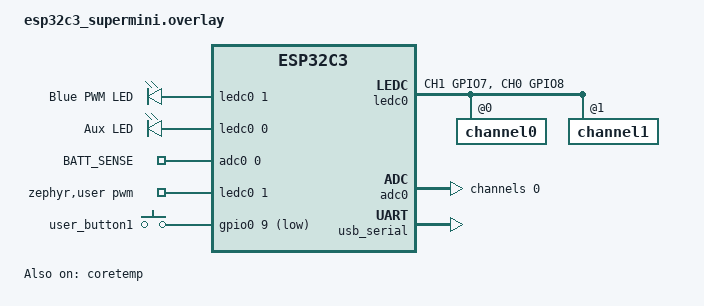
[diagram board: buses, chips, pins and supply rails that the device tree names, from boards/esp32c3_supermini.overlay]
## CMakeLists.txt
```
cmake_minimum_required(VERSION 3.20.0)

find_package(Zephyr REQUIRED HINTS $ENV{ZEPHYR_BASE})
project(ZBeam)

# Core application sources
target_sources(app PRIVATE 
    src/main.c
    src/key_map.c
    lib/fsm_engine.c
    lib/fsm_worker.c
    lib/multi_tap_input.c
    lib/storage_manager.c
    lib/safety_monitor.c
)

# Platform-specific PWM ramp implementation
if(CONFIG_PWM_RAMP_ESP32_LEDC_INTERPOLATION)
    target_sources(app PRIVATE src/pwm_ramp_esp32.c)
elseif(CONFIG_PWM_RAMP_DMA)
    target_sources(app PRIVATE src/pwm_ramp_dma.c)
else()
    target_sources(app PRIVATE src/pwm_ramp_generic.c)
endif()

target_include_directories(app PRIVATE include)
```

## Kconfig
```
# ZBeam Application Configuration

# ============================================================================
# MCU/Platform-Specific Configuration
# ============================================================================
menu "MCU-Specific Settings"

menu "PWM Ramp Table"

config PWM_RAMP_TABLE
	bool "Enable PWM ramp table for LED brightness"
	default y
	help
	  Enable perception-corrected PWM ramp table for LED brightness control.
	  Uses gamma correction for perceptually-linear brightness changes.

if PWM_RAMP_TABLE

config PWM_RAMP_RESOLUTION_13BIT
	bool
	default y if SOC_SERIES_ESP32C3 || SOC_SERIES_ESP32 || SOC_SERIES_ESP32S2 || SOC_SERIES_ESP32S3 || SOC_SERIES_NRF52X

config PWM_RAMP_RESOLUTION_10BIT
	bool
	default y if SOC_SERIES_STM32F4X || SOC_SERIES_STM32L4X

config PWM_RAMP_RESOLUTION_8BIT
	bool
	default y if !PWM_RAMP_RESOLUTION_13BIT && !PWM_RAMP_RESOLUTION_10BIT

config PWM_RAMP_ESP32_LEDC_INTERPOLATION
	bool
	default y if SOC_SERIES_ESP32C3 || SOC_SERIES_ESP32 || SOC_SERIES_ESP32S2 || SOC_SERIES_ESP32S3

config PWM_RAMP_INTERPOLATION_STEP
	int "Ramp table interpolation step size"
	default 8
	range 1 64
	depends on PWM_RAMP_ESP32_LEDC_INTERPOLATION
	help
	  Instead of updating brightness at every table index, skip N entries
	  and use LEDC hardware fade to interpolate between values.
	  Higher values = less CPU overhead, but coarser gamma correction.
	  Recommended: 4-16 for smooth fades with minimal CPU usage.

config PWM_RAMP_DMA
	bool "Use DMA for PWM ramping"
	default n
	help
	  Use DMA to transfer duty values from the ramp table directly
	  to the timer's Capture/Compare Register. This provides true
	  zero-CPU-overhead brightness ramping on MCUs with Timer+DMA.
	  Currently a stub - requires hardware-specific implementation.

endif # PWM_RAMP_TABLE

endmenu # PWM Ramp Table

endmenu # MCU-Specific Settings

# ============================================================================
# General Application Configuration
# ============================================================================
menu "ZBeam Application"

menu "Input Handling"

config ZBEAM_CLICK_TIMEOUT_MS
	int "Multi-tap click timeout (ms)"
	default 500
	help
	  Time window to wait for additional clicks before finalizing a tap sequence.

config ZBEAM_HOLD_DURATION_MS
	int "Hold detection threshold (ms)"
	default 500
	help
	  Duration button must be held to register as a hold event.

config ZBEAM_MAX_NAV_SLOTS
	int "Maximum tap count for navigation"
	default 10
	range 1 10

	help
	  Maximum number of sequential taps supported for navigation.
	  Index 0 = 1 tap, Index 6 = 7 taps (AUX config).

endmenu # Input Handling

menu "Worker Threads"

config ZBEAM_FSM_MSGQ_DEPTH
	int "FSM message queue depth"
	default 8
	range 4 32
	help
	  Number of pending messages before queue blocks.
	  Should handle bursts of input + timer events.

config ZBEAM_FSM_WORKER_STACK_SIZE
	int "FSM worker thread stack size (bytes)"
	default 1024
	range 512 4096
	help
	  Stack size for FSM worker thread. Use thread analyzer to tune.

config ZBEAM_FSM_WORKER_PRIORITY
	int "FSM worker thread priority"
	default 7
	range 0 14
	help
	  Cooperative priority. Lower number = higher priority.

config ZBEAM_SAFETY_WORKER_STACK_SIZE
	int "Safety worker thread stack size (bytes)"
	default 512
	range 256 2048
	help
	  Stack size for safety monitor thread. Minimal - only reads sensors.

config ZBEAM_SAFETY_RATE_HZ
	int "Safety monitor check frequency (Hz)"
	default 10
	range 1 100
	help
	  How often the safety monitor reads sensors and checks limits.

endmenu # Worker Threads

menu "Safety Thresholds"

config ZBEAM_TEMP_WARN_C10
	int "Temperature warning threshold (0.1°C units)"
	default 600
	range 300 800
	help
	  Temperature at which thermal warning is triggered.
	  Value is in 0.1°C units (600 = 60.0°C).
	  FSM will begin gradual power reduction.

config ZBEAM_TEMP_SHUTDOWN_C10
	int "Temperature shutdown threshold (0.1°C units)"
	default 750
	range 500 900
	help
	  Temperature at which emergency shutdown is triggered.
	  Value is in 0.1°C units (750 = 75.0°C).
	  Conservative default for LED longevity.

config ZBEAM_CURRENT_MAX_MA
	int "Maximum current (mA)"
	default 2500
	range 500 5000
	help
	  Current at which emergency shutdown is triggered.
	  Default 2500mA (2.5A) is conservative for most LEDs.

config ZBEAM_VOLTAGE_MIN_MV
	int "Minimum voltage (mV)"
	default 2900
	range 2500 3200
	help
	  Voltage below which emergency shutdown is triggered.
	  Default 2900mV is safe LiPo cutoff.

config ZBEAM_VOLTAGE_MAX_MV
	int "Maximum voltage (mV)"
	default 4200
	range 4000 4500
	help
	  Voltage above which emergency shutdown is triggered.
	  Default 4200mV is standard LiPo full charge.

endmenu # Safety Thresholds

menu "Default UI Settings"

config ZBEAM_DEFAULT_UI_MODE_ADVANCED
	bool "Default to Advanced UI"
	default n
	help
	  If enabled, the light starts in Advanced UI mode.
	  If disabled, it starts in Simple UI mode.

choice ZBEAM_DEFAULT_MEMORY_MODE
	prompt "Default Memory Mode"
	default ZBEAM_MEMORY_AUTOMATIC
	help
	  Select the default memory behavior for brightness.

	config ZBEAM_MEMORY_AUTOMATIC
		bool "Automatic (Last Used)"
	
	config ZBEAM_MEMORY_MANUAL
		bool "Manual (Set Level)"
	
	config ZBEAM_MEMORY_HYBRID
		bool "Hybrid (Timer-based)"
endchoice

config ZBEAM_DEFAULT_MANUAL_MEM_LEVEL
	int "Default Manual Memory Level (1-255)"
	default 128
	range 1 255
	depends on ZBEAM_DEFAULT_MEMORY_MODE != ZBEAM_MEMORY_AUTOMATIC

config ZBEAM_DEFAULT_HYBRID_MEM_TIMEOUT_MIN
	int "Default Hybrid Memory Timeout (Minutes)"
	default 10
	depends on ZBEAM_DEFAULT_MEMORY_MODE = ZBEAM_MEMORY_HYBRID

config ZBEAM_AUTO_LOCK_TIMEOUT_MIN
	int "Auto-Lock Timeout (Minutes, 0=Disabled)"
	default 0
	help
	  Automatic lockout after inactivity.

endmenu # Default UI Settings

menu "Ramp Configuration"

choice ZBEAM_DEFAULT_RAMP_STYLE
	prompt "Default Ramp Style"
	default ZBEAM_RAMP_SMOOTH
	help
	  Select if the light starts with Smooth or Stepped ramping.

	config ZBEAM_RAMP_SMOOTH
		bool "Smooth (Continuous)"
	
	config ZBEAM_RAMP_STEPPED
		bool "Stepped (Discrete)"
endchoice

config ZBEAM_STEPPED_RAMP_STEPS
	int "Number of steps in Stepped Ramp"
	default 7
	range 2 150
	help
	  Total number of levels in stepped mode (evenly spaced between floor and ceiling).

endmenu # Ramp Configuration

menu "LED Control"

config ZBEAM_PWM_VALUES
	string "Comma-separated PWM levels (0-255)"
	default "1,10,40,75,100,150,200,255"
	help
	  Discrete brightness levels for ramp mode.

config ZBEAM_MAX_PWM_LEVELS
	int "Maximum number of PWM levels"
	default 16
	range 2 32
	help
	  Maximum entries parsed from ZBEAM_PWM_VALUES.

config ZBEAM_STROBE_MIN_FREQ
    int "Minimum Strobe Frequency (Hz)"
    default 2
    help
      Minimum strobe frequency (slowest).

config ZBEAM_STROBE_MAX_FREQ
    int "Maximum Strobe Frequency (Hz)"
    default 80
    help
      Maximum strobe frequency (fastest).

config ZBEAM_STROBE_DEFAULT_FREQ
    int "Default Strobe Frequency (Hz)"
    default 12
    help
      Default strobe frequency on boot/reset.

config ZBEAM_STROBE_WAVEFORM_SAWTOOTH
    bool "Use Sawtooth Wave Strobe"
    default y
    help
      If enabled, strobe uses a sawtooth waveform (Ramp Up -> Hard Drop) logic.
      Uses software segmentation to approximate the shape.

config ZBEAM_STROBE_USE_ALC_BRIGHTNESS
    bool "Use Active Level for Strobe Brightness"
    default y
    help
      If enabled, strobe flashes at the current brightness level (memorized).
      If disabled, strobe always flashes at 100% (255).

config ZBEAM_BRIGHTNESS_FLOOR
    int "Brightness Floor (1-255)"
    default 1
    range 1 255

config ZBEAM_BRIGHTNESS_CEILING
    int "Brightness Ceiling (1-255)"
    default 255
    range 1 255

config ZBEAM_BRIGHTNESS_SWEEP_DURATION_MS
    int "Brightness Sweep Duration (ms)"
    default 2000
    help
      Time to sweep brightness from floor to ceiling.

config ZBEAM_STROBE_SWEEP_DURATION_MS
    int "Strobe Sweep Duration (ms)"
    default 3000
    help
      Time to sweep strobe frequency from min to max.

menu "Thermal Manager"
	config ZBEAM_THERMAL_LIMIT_DEFAULT
		int "Default Thermal Limit (C)"
		default 45
		help
		  Target temperature for temperature regulation.

	config ZBEAM_PID_KP
		int "PID Kp (Proportional) x100"
		default 50
		help
		  Proportional gain scaled by 100.

	config ZBEAM_PID_KI
		int "PID Ki (Integral) x100"
		default 2
		help
		  Integral gain scaled by 100.
	
	config ZBEAM_PID_KD
		int "PID Kd (Derivative) x100"
		default 100
		help
		  Derivative gain scaled by 100.
endmenu


config ZBEAM_SWEEP_DURATION_MS
	int "Sweep Duration (ms)"
	default 2000
	help
	  Time to sweep from floor to ceiling.

config ZBEAM_SWEEP_SPEED_MS
	int "Sweep cycle speed (ms per step)"
	default 10
	range 1 100
	help
	  Time per step in sweep/breathing mode.

config ZBEAM_BLINK_RETURN_MS
	int "Blink node auto-return timeout (ms)"
	default 200
	help
	  How long to stay in blink state before returning.

endmenu # LED Control

menu "AUX LED Controller"
config ZBEAM_AUX_TYPE_SINGLE
	bool
	default y if !ZBEAM_AUX_TYPE_RGB && !ZBEAM_AUX_TYPE_WS2812

config ZBEAM_AUX_TYPE_RGB
	bool
	default n

config ZBEAM_AUX_TYPE_WS2812
	bool
	default n

	config ZBEAM_AUX_BLINK_SPEED_MS
		int "AUX Blink Speed (ms)"
		default 1000
		help
		  Pulse duration for AUX blinking mode.
endmenu


menu "Debug and Profiling"

config ZBEAM_THREAD_ANALYZER
	bool "Enable thread stack profiling"
	select THREAD_ANALYZER
	select THREAD_ANALYZER_AUTO
	select INIT_STACKS
	help
	  Enables periodic reporting of thread stack usage
	  to verify stack sizes are not over-provisioned.
	  Note: Manually set CONFIG_THREAD_ANALYZER_USE_LOG=y in prj.conf.

config ZBEAM_THREAD_ANALYZER_INTERVAL_SEC
	int "Thread analyzer report interval (seconds)"
	default 30
	range 5 300
	depends on ZBEAM_THREAD_ANALYZER
	help
	  Interval between thread analyzer reports.

endmenu # Debug and Profiling

menu "Data Storage"

config ZBEAM_NVS_ENABLED
	bool "Enable NVS Storage"
	default n
	select FLASH
	select FLASH_MAP
	select NVS
	help
	  Enable Non-Volatile Storage (NVS) for persisting settings.

endmenu # Data Storage

endmenu # ZBeam Application

source "Kconfig.zephyr"
```

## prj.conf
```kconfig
# --- Size Optimizations ---
CONFIG_SIZE_OPTIMIZATIONS=y
CONFIG_BOOT_BANNER=n
CONFIG_CBPRINTF_NANO=y

# --- Core Kernel and Threads ---
CONFIG_MAIN_STACK_SIZE=2048
CONFIG_ISR_STACK_SIZE=2048
CONFIG_IDLE_STACK_SIZE=512
CONFIG_SYSTEM_WORKQUEUE_STACK_SIZE=2048
CONFIG_NUM_COOP_PRIORITIES=8
CONFIG_TIMESLICING=n

# --- Peripherals ---
CONFIG_GPIO=y
CONFIG_INPUT=y
CONFIG_PWM=y

# --- Logging (enabled for debugging) ---
CONFIG_LOG=y
CONFIG_LOG_DEFAULT_LEVEL=3
CONFIG_LOG_MODE_IMMEDIATE=y

# --- Flash & ZMS (lighter than NVS) ---
CONFIG_FLASH=y
CONFIG_FLASH_MAP=y
CONFIG_NVS=y
CONFIG_SETTINGS=y
CONFIG_ZBEAM_NVS_ENABLED=y
CONFIG_REBOOT=y

# Application Stack Sizes
CONFIG_ZBEAM_FSM_WORKER_STACK_SIZE=2048
CONFIG_ZBEAM_SAFETY_WORKER_STACK_SIZE=2048
```

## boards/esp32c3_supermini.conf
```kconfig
CONFIG_CONSOLE=y
CONFIG_UART_CONSOLE=y
CONFIG_SERIAL=y
CONFIG_GPIO=y
CONFIG_FLASH=y
CONFIG_FLASH_MAP=y
CONFIG_PWM=y
CONFIG_LED=y
CONFIG_LED_PWM=y
CONFIG_PRINTK=y
```

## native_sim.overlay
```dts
#include <zephyr/dt-bindings/input/input-event-codes.h>

&gpio0 {
	sdl_gpio {
		compatible = "zephyr,gpio-emul-sdl";
		scancodes = <4>;
	};
};

/ {
    input_evdev: evdev_input {
        compatible = "zephyr,native-linux-evdev";
        status = "okay";
        label = "EVDEV_INPUT_DEVICE";
    };
    
    aliases {
        sw0 = &input_evdev;
    };

	keys {
		compatible = "gpio-keys";
		key_a: key_a {
			gpios = <&gpio0 0 GPIO_ACTIVE_HIGH>;
			zephyr,code = <INPUT_KEY_A>;
		};
	};
};
```

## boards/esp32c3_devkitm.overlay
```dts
/* Enable internal temperature sensor */
&coretemp {
	status = "okay";
};

/* Enable USB-Serial-JTAG Console */
/ {
    chosen {
        zephyr,console = &usb_serial;
        zephyr,shell-uart = &usb_serial;
    };
};

&usb_serial {
    status = "okay";
};
```

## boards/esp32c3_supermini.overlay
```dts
/*
 * Copyright (c) 2024 Arrel Neumiller
 *
 * SPDX-License-Identifier: Apache-2.0
 */

#include <zephyr/dt-bindings/gpio/gpio.h>
#include <zephyr/dt-bindings/input/input-event-codes.h>
#include <zephyr/dt-bindings/pwm/pwm.h>

/ {
	aliases {
		pwm-led0 = &pwm_led_blue;
		sw0 = &user_button1;
	};



	chosen {
		zephyr,console = &usb_serial;
		zephyr,shell-uart = &usb_serial;
	};

	pwmleds {
		compatible = "pwm-leds";

		pwm_led_blue: pwm_led_0 {
			pwms = <&ledc0 1 1000000 PWM_POLARITY_INVERTED>;
			label = "Blue PWM LED";
		};
	};

};

&user_button1 {
	status = "okay";
	gpios = <&gpio0 9 (GPIO_PULL_UP | GPIO_ACTIVE_LOW)>;
	zephyr,code = <INPUT_KEY_0>;
};



/ {
	gpio_keys {
		debounce-interval-ms = <50>;
	};
};

&pinctrl {
	ledc0_default: ledc0_default {
		group1 {
			pinmux = <LEDC_CH1_GPIO7>; /* Move main beam to GPIO7 (Ch1) */
			output-enable;
		};
		group2 {
			pinmux = <LEDC_CH0_GPIO8>; /* Aux LED on GPIO8 (Ch0) */
			output-enable;
		};
	};
};

&ledc0 {
	pinctrl-0 = <&ledc0_default>;
	pinctrl-names = "default";
	status = "okay";
	#address-cells = <1>;
	#size-cells = <0>;
	channel0@0 {
		reg = <0x0>;
		timer = <0>;
	};
	channel1@1 {
		reg = <0x1>;
		timer = <0>;
	};
};

/ {
    /* AUX LED Controller (PWM-based) */
    aux_pwm: aux_pwm {
        compatible = "pwm-leds";
        aux_led: aux_path {
             pwms = <&ledc0 0 10000 PWM_POLARITY_INVERTED>;
             label = "Aux LED";
        };
    };


	aliases {
		pwm-led0 = &pwm_led_blue;
		sw0 = &user_button1;
	};



};


/* Enable Internal Temp Sensor */
&coretemp {
    status = "okay";
};


/* Enable ADC for Battery/Thermistors */
&adc0 {
    status = "okay";
    #address-cells = <1>;
    #size-cells = <0>;

    battery_sense: channel@0 {
        reg = <0>;
        zephyr,gain = "ADC_GAIN_1_4";
        zephyr,reference = "ADC_REF_INTERNAL";
        zephyr,acquisition-time = <ADC_ACQ_TIME_DEFAULT>;
        zephyr,resolution = <12>;
    };
};

/ {
    zephyr,user {
        io-channels = <&adc0 0>;
        io-channel-names = "BATT_SENSE";
        zbeam,battery-divider-factor = <3125>; /* (R_high + R_low) / R_low * 1000 */
        
        /* Main Beam Emitters */
        pwms = <&ledc0 1 1000000 PWM_POLARITY_INVERTED>;
        emitter-names = "main";
    };
};



&usb_serial {
	status = "okay";
};
```

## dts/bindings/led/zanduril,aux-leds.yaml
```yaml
description: |
  ZBeam AUX LED Controller.
  Defines a logical controller for secondary (AUX) LEDs, supporting
  Single-color, RGB, and Addressable types.

compatible: "zanduril,aux-leds"

include: base.yaml

properties:
  aux-type:
    type: string
    required: true
    enum:
      - "single"
      - "rgb"
      - "ws2812"
    description: Hardware type of the AUX LED(s).

  gpios:
    type: phandle-array
    required: false
    description: GPIO pin(s) for single or RGB types.

  # Future expansion for RGB/WS2812 patterns
  default-mode:
    type: int
    default: 0
    description: Initial AUX mode on boot (0=Off, 1=Low, 2=High, 3=Blink)
```

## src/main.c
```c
#include <zephyr/kernel.h>
#include <zephyr/logging/log.h>
#include <zephyr/input/input.h>
#include "multi_tap_input.h"

LOG_MODULE_REGISTER(ButtonApp, LOG_LEVEL_INF);

#define MONITOR_KEY_CODE 30 // 'a'

static void app_action_handler(const struct multi_tap_input_action *action)
{
    if (action->is_hold) {
        LOG_INF("APP ACTION: Mode change detected: %d Clicks + HOLD.", action->count);
    } else {
        switch (action->count) {
            case 1:
                LOG_INF("APP ACTION: Single Tap executed (Light ON/OFF).");
                break;
            case 2:
                LOG_INF("APP ACTION: Double Tap executed (Dimmer setting).");
                break;
            default:
                LOG_INF("APP ACTION: %d Clicks executed (Advanced feature).", action->count);
                break;
        }
    }
}

static void raw_input_cb(struct input_event *evt, void *user_data)
{
    if (evt->type != INPUT_EV_KEY) {
        return;
    }
    
    if (evt->code != MONITOR_KEY_CODE) {
        return;
    }

    multi_tap_input_process_key(evt->value);
}

INPUT_CALLBACK_DEFINE(NULL, raw_input_cb, NULL);

int main(void)
{
    multi_tap_input_init(app_action_handler);

    LOG_INF("Application Ready. Waiting for key code %d ('a') press and release cycles.", MONITOR_KEY_CODE);
    return 0;
}
```

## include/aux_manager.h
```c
/*
 * AUX Manager Header
 */

#ifndef AUX_MANAGER_H
#define AUX_MANAGER_H

#include <stdint.h>

typedef enum {
    AUX_OFF = 0,
    AUX_LOW,
    AUX_HIGH,
    AUX_BLINK,
    AUX_SINE, // New Breathing Mode
    AUX_MODE_COUNT
} aux_mode_t;

void aux_init(void);
void aux_set_mode(uint8_t mode);
void aux_cycle_mode(void);
void aux_update(void);

#endif
```

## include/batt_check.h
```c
/**
 * @file batt_check.h
 * @brief Battery Check Logic and Stub.
 */

#ifndef BATT_CHECK_H
#define BATT_CHECK_H

#include <stdint.h>

/**
 * @brief Initialize battery monitoring hardware.
 */
void batt_init(void);

/**
 * @brief Read the current battery voltage in millivolts.
 * 
 * This function is defined as WEAK in the source, allowing tests
 * to override it with a mock.
 * 
 * @return Voltage in mV (e.g. 3800 for 3.8V).
 */
uint16_t batt_read_voltage_mv(void);

/**
 * @brief Calculate the blink sequence for a given voltage.
 * 
 * e.g. 3.8V -> 3 blinks, pause, 8 blinks.
 * 
 * @param mv Voltage in millivolts.
 * @param major Pointer to store major blinks (integer part).
 * @param minor Pointer to store minor blinks (decimal part).
 */
void batt_calculate_blinks(uint16_t mv, uint8_t *major, uint8_t *minor);

/**
 * @brief Calibrate the battery reading.
 * 
 * @param actual_mv The known actual voltage in mV.
 */
void batt_calibrate_voltage(uint16_t actual_mv);

#endif /* BATT_CHECK_H */
```

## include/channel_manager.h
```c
#ifndef CHANNEL_MANAGER_H
#define CHANNEL_MANAGER_H

#include <stdint.h>
#include <zephyr/drivers/pwm.h>

typedef enum {
    CHANNEL_MODE_SINGLE = 0,    /* One emitter only */
    CHANNEL_MODE_50_50,         /* Even mix */
    CHANNEL_MODE_COLD,          /* Only emitter 0 */
    CHANNEL_MODE_WARM,          /* Only emitter 1 */
    CHANNEL_MODE_AUTO_TINT,     /* Shifts CW->WW with brightness */
    CHANNEL_MODE_SEQUENTIAL,    /* Emitters turn on in sequence (Continuum) */
    CHANNEL_MODE_COUNT
} channel_mode_t;

/**
 * @brief Initialize emitters from DeviceTree
 */
void channel_init(void);

/**
 * @brief Apply brightness level to all mapped channels based on current mode
 * @param master_level 0-255 brightness level
 */
void channel_apply_mix(uint8_t master_level);

/**
 * @brief Switch to next available channel mode
 */
void channel_cycle_mode(void);

#endif
```

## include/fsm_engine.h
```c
/**
 * @file fsm_engine.h
 * @brief Finite State Machine Engine for ZBeam.
 * 
 * Defines the core node structure and the engine API to process inputs
 * and manage state transitions.
 */

#ifndef FSM_ENGINE_H
#define FSM_ENGINE_H

#include <zephyr/kernel.h>
#include "zbeam_msg.h"

// Maximum number of taps to index in the transition arrays
// Index 0 = 1 tap, Index 4 = 5 taps.
#define MAX_NAV_SLOTS CONFIG_ZBEAM_MAX_NAV_SLOTS 

/**
 * @brief Serialized configuration data for a node (NVS friendly).
 */
struct node_config_data {
    uint8_t target_click_ids[MAX_NAV_SLOTS]; ///< Enum IDs of target nodes for clicks
    uint8_t target_hold_ids[MAX_NAV_SLOTS];  ///< Enum IDs of target nodes for holds
    uint32_t timeout_ms;                     ///< Inactivity timeout duration
};

struct fsm_node; // Forward decl

/**
 * @brief Callback for processing input without leaving the node.
 * @param self The current node.
 * @return NULL to stay/continue normal processing, or a pointer to a new node to force a transition.
 */
typedef struct fsm_node* (*fsm_callback_t)(struct fsm_node *self, int count);

/**
 * @brief Runtime FSM Node definition.
 */
struct fsm_node {
    uint8_t id;                        // Unique Enum ID (0 to NODE_COUNT-1)
    const char *name;                  // Name for debugging (e.g., "ON", "OFF")
    void (*action_routine)(void);      // Function to execute when entering this state
    
    // Navigation Tables
    // If the user performs N taps, we look at index [N-1].
    // If the entry is NULL, the input is ignored (no transition).
    struct fsm_node *click_map[MAX_NAV_SLOTS]; 
    struct fsm_node *hold_map[MAX_NAV_SLOTS];
    
    // Callbacks (Optional) - Run before map lookup
    fsm_callback_t click_callbacks[MAX_NAV_SLOTS];
    fsm_callback_t hold_callbacks[MAX_NAV_SLOTS];
    
    // Release Callback: Triggered when a HOLD is released
    fsm_callback_t release_callback;

    // Generic Callbacks (Called if count > MAX_NAV_SLOTS or no specific map exists)
    fsm_callback_t any_click_callback;
    fsm_callback_t any_hold_callback;

    uint32_t timeout_ms;               // Milliseconds of inactivity to return to Home (0 = never)
    bool timeout_reverts;              // If true, timeout returns to PREVIOUS node instead of Home.
    struct fsm_node *timeout_node;     // If set, timeout transitions here instead of Home/Previous.
};

/**
 * @brief Get the current active node.
 */
struct fsm_node *fsm_get_current_node(void);

/**
 * @brief Initialize the FSM with a starting node (usually OFF).
 * @param start_node Pointer to the initial state.
 */
void fsm_init(struct fsm_node *start_node);

/**
 * @brief Force a transition to a specific node (e.g. from a timer/callback).
 */
void fsm_transition_to(struct fsm_node *next_node);

/**
 * @brief Process an input message from the worker thread.
 * @param msg Input message (TAP, HOLD_START, HOLD_RELEASE).
 */
void fsm_process_msg(const struct zbeam_msg *msg);

/**
 * @brief Process a timer message from the worker thread.
 * @param msg Timer message (INACTIVITY, RAMP_TICK).
 */
void fsm_process_timer(const struct zbeam_msg *msg);

/**
 * @brief Emergency off - immediate LED shutdown.
 * 
 * Called when safety monitor triggers shutdown.
 * Stops all timers and forces LED to off state.
 */
void fsm_emergency_off(void);

#endif // FSM_ENGINE_H
```

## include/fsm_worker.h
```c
/**
 * @file fsm_worker.h
 * @brief FSM Worker Thread API.
 *
 * The FSM worker thread owns the message queue and dispatches
 * all events to the FSM engine in a safe, non-ISR context.
 */

#ifndef FSM_WORKER_H
#define FSM_WORKER_H

#include <zephyr/kernel.h>
#include "zbeam_msg.h"

/**
 * @brief Post a message to the FSM worker queue.
 *
 * Thread-safe and ISR-safe (non-blocking).
 *
 * @param msg Pointer to message to post.
 * @return 0 on success, -ENOMSG if queue full.
 */
int fsm_worker_post_msg(const struct zbeam_msg *msg);

/**
 * @brief Get the message queue (for testing/injection).
 * @return Pointer to the k_msgq.
 */
struct k_msgq *fsm_worker_get_queue(void);

/**
 * @brief Check if worker thread is running.
 * @return true if initialized and running.
 */
bool fsm_worker_is_running(void);

#endif /* FSM_WORKER_H */
```

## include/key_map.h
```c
/**
 * @file key_map.h
 * @brief FSM Node Definitions and Key Map API.
 *
 * Defines all states for the Anduril-style flashlight UI.
 */

#ifndef KEY_MAP_H
#define KEY_MAP_H

#include "fsm_engine.h"

/**
 * @brief FSM Node IDs for all states.
 */
enum fsm_node_id {
    /* Core States */
    NODE_OFF = 0,       /**< Light is off */
    NODE_ON,            /**< Steady output at memorized level */
    NODE_RAMP,          /**< Active ramping (hold to change brightness) */
    NODE_MOON,          /**< Lowest brightness (moonlight) */
    NODE_TURBO,         /**< Maximum brightness */
    NODE_LOCKOUT,       /**< Locked - prevents accidental activation */
    
    /* Utility States */
    NODE_BATTCHECK,     /**< Blink battery voltage */
    NODE_TEMPCHECK,     /**< Blink temperature (future) */
    NODE_SOS,           /**< SOS morse pattern (future) */
    NODE_BEACON,        /**< Periodic flash (future) */
    
    /* Strobe States */
    NODE_STROBE,        /**< Generic strobe entry */
    NODE_STROBE_TACTICAL,
    NODE_STROBE_CANDLE,
    
    /* Config/Feedback States */
    NODE_BLINK,         /**< Visual feedback blink */
    NODE_FACTORY_RESET, /**< Wipe settings and reboot */
    NODE_SWEEP,         /**< Cyclic sine wave demo (legacy) */
    
    NODE_COUNT          /**< Must be last */
};

/* Global array of all nodes, indexed by ID */
extern struct fsm_node *all_nodes[NODE_COUNT];

/* Node declarations for external access */
extern struct fsm_node node_off;
extern struct fsm_node node_on;
extern struct fsm_node node_ramp;
extern struct fsm_node node_moon;
extern struct fsm_node node_turbo;
extern struct fsm_node node_lockout;
extern struct fsm_node node_battcheck;
extern struct fsm_node node_blink;

/**
 * @brief Initialize key map (parse Kconfig, setup timers).
 */
void key_map_init(void);

/**
 * @brief Get the start node for FSM initialization.
 * @return Pointer to the initial state (NODE_OFF).
 */
struct fsm_node *get_start_node(void);

/**
 * @brief Get the current PWM duty cycle value.
 * @return PWM value 0-255.
 */
uint8_t key_map_get_current_pwm(void);

/**
 * @brief Get the current brightness index.
 * @return Index into pwm_levels array.
 */
int key_map_get_brightness_index(void);

/**
 * @brief Set brightness by index.
 * @param index Index into pwm_levels array.
 */
void key_map_set_brightness_index(int index);

#endif /* KEY_MAP_H */
```

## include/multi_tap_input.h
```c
/**
 * @file multi_tap_input.h
 * @brief Multi-Tap Input Detection API.
 *
 * Posts input events (tap, hold) to FSM worker via message queue.
 */

#ifndef MULTI_TAP_INPUT_H
#define MULTI_TAP_INPUT_H

#include <zephyr/kernel.h>

/**
 * @brief Initialize the Multi-Tap Input engine.
 */
void multi_tap_input_init(void);

/**
 * @brief Configure timing parameters at runtime.
 * @param click_ms Click timeout in milliseconds.
 * @param hold_ms Hold duration in milliseconds.
 */
void multi_tap_configure(uint32_t click_ms, uint32_t hold_ms);

/* Internal state reset for testing */
void multi_tap_input_reset(void);

#endif /* MULTI_TAP_INPUT_H */
```

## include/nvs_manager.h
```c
/**
 * @file nvs_manager.h
 * @brief Non-Volatile Storage Manager for ZBeam.
 * 
 * Handles persistence of FSM node configurations and system-wide settings.
 * Uses Zephyr's NVS subsystem on the 'storage_partition'.
 */

#ifndef NVS_MANAGER_H
#define NVS_MANAGER_H

#include <zephyr/kernel.h>
#include "fsm_engine.h"

#define NVS_SYSTEM_CONFIG_ID 0xFF // Special ID for system config

/**
 * @brief Global system configuration settings.
 */
struct system_config {
    uint32_t click_timeout_ms;   ///< Click detection timeout.
    uint32_t hold_duration_ms;   ///< Hold detection duration.
    uint16_t monitor_key_code;   ///< Input event code to monitor.
};

/**
 * @brief Initialize the NVS file system.
 * @return 0 on success, negative error code otherwise.
 */
int nvs_init_fs(void);

/**
 * @brief Save a single node's configuration to NVS.
 * @param node_id The unique enum ID of the node.
 * @param config Pointer to the configuration data.
 */
void nvs_save_node_config(uint8_t node_id, const struct node_config_data *config);

/**
 * @brief Load all node configurations from NVS and update runtime pointers.
 * 
 * Iterates through all nodes. If NVS data exists, updates the node's
 * timeout and navigation maps (click_map/hold_map).
 */
void nvs_load_runtime_config(void);

// System Config & Reset

/**
 * @brief Save system-wide settings.
 * @param config Pointer to system config struct.
 */
void nvs_save_system_config(const struct system_config *config);

/**
 * @brief Load system-wide settings.
 * @param config Pointer to struct to populate.
 * @return 0 on success, -ENOENT if not found.
 */
int nvs_load_system_config(struct system_config *config);

/**
 * @brief Wipe all data from NVS (Factory Reset).
 * 
 * Deletes all node configs and system config.
 */
void nvs_wipe_all(void);

#endif // NVS_MANAGER_H
```

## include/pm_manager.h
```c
/*
 * Power Manager Header
 */

#ifndef PM_MANAGER_H
#define PM_MANAGER_H

#include <stdbool.h>

void pm_init(void);
void pm_suspend(void);
void pm_resume(void);
bool pm_is_suspended(void);

#endif
```

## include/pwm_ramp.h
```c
/*
 * PWM Ramp API - Common Interface
 * 
 * Platform-agnostic API for perception-corrected LED brightness ramping.
 * Implementation varies by platform:
 *   - ESP32: LEDC hardware fade with table interpolation
 *   - CH32X035: DMA+Timer (future)
 *   - Generic: CPU loop fallback
 */

#ifndef PWM_RAMP_H
#define PWM_RAMP_H

#include <zephyr/kernel.h>
#include <zephyr/drivers/pwm.h>
#include <stdint.h>

/**
 * @brief Initialize the PWM ramp subsystem
 * @param pwm_spec PWM device tree spec
 * @return 0 on success, negative errno on failure
 */
int pwm_ramp_init(const struct pwm_dt_spec *pwm_spec);

/**
 * @brief Set brightness level (0-255)
 * Uses the gamma-corrected ramp table internally.
 * @param brightness 0 (off) to 255 (full)
 */
void pwm_ramp_set_brightness(uint8_t brightness);

/**
 * @brief Start a ramp from current brightness to target
 * @param target_brightness Target brightness (0-255)
 * @param duration_ms Time to complete the ramp
 * @return 0 on success, negative errno on failure
 */
int pwm_ramp_start(uint8_t target_brightness, uint32_t duration_ms);

/**
 * @brief Check if a ramp is currently in progress
 * @return true if ramping, false if idle
 */
bool pwm_ramp_is_active(void);

/**
 * @brief Stop any active ramp and hold current brightness
 */
void pwm_ramp_stop(void);

/**
 * @brief Get the current brightness level
 * @return Current brightness (0-255)
 */
uint8_t pwm_ramp_get_brightness(void);

#endif /* PWM_RAMP_H */
```

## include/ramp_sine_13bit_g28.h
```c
/*
 * Auto-generated PWM sine table for perception-corrected LED brightness.
 * Generated by: scripts/generate_ramp_table.py --bits 13 --gamma 2.8 --sine
 *
 * Configuration:
 *   Mode: sine
 *   Resolution: 13-bit (max duty = 8191)
 *   Table size: 256 entries
 *   Gamma: 2.8
 *
 * Suitable for: Blue, cool white LEDs (higher gamma for blue sensitivity)
 *
 * Gamma reference:
 *   2.0-2.2: Standard (white/red LEDs)
 *   2.3-2.5: Mid-range (green/amber LEDs)
 *   2.6-3.0: High (blue LEDs, human eye less sensitive to blue)
 */

#ifndef PWM_SINE_13BIT_G28_H
#define PWM_SINE_13BIT_G28_H

#include <stdint.h>

#define PWM_SINE_13BIT_G28_SIZE 256
#define PWM_SINE_13BIT_G28_MAX_DUTY 8191

static const uint16_t pwm_sine_table_13bit_g28[256] = {
        0,     0,     0,     0,     0,     0,     0,     0,     0,     0,     0,     0,     0,     0,     0,     1,
        1,     1,     2,     2,     3,     4,     5,     6,     8,    10,    12,    15,    19,    22,    27,    32,
       38,    44,    52,    61,    70,    81,    93,   107,   121,   138,   156,   176,   197,   221,   247,   275,
      305,   337,   372,   410,   450,   493,   539,   588,   641,   696,   754,   816,   881,   950,  1022,  1097,
     1176,  1259,  1345,  1435,  1528,  1625,  1726,  1830,  1937,  2048,  2162,  2280,  2401,  2525,  2652,  2781,
     2914,  3049,  3186,  3326,  3468,  3612,  3757,  3904,  4053,  4202,  4352,  4503,  4654,  4806,  4957,  5107,
     5258,  5407,  5555,  5701,  5846,  5988,  6129,  6267,  6402,  6534,  6662,  6787,  6908,  7025,  7137,  7245,
     7348,  7446,  7538,  7625,  7707,  7782,  7852,  7915,  7973,  8023,  8067,  8105,  8136,  8160,  8177,  8188,
     8191,  8188,  8177,  8160,  8136,  8105,  8067,  8023,  7973,  7915,  7852,  7782,  7707,  7625,  7538,  7446,
     7348,  7245,  7137,  7025,  6908,  6787,  6662,  6534,  6402,  6267,  6129,  5988,  5846,  5701,  5555,  5407,
     5258,  5107,  4957,  4806,  4654,  4503,  4352,  4202,  4053,  3904,  3757,  3612,  3468,  3326,  3186,  3049,
     2914,  2781,  2652,  2525,  2401,  2280,  2162,  2048,  1937,  1830,  1726,  1625,  1528,  1435,  1345,  1259,
     1176,  1097,  1022,   950,   881,   816,   754,   696,   641,   588,   539,   493,   450,   410,   372,   337,
      305,   275,   247,   221,   197,   176,   156,   138,   121,   107,    93,    81,    70,    61,    52,    44,
       38,    32,    27,    22,    19,    15,    12,    10,     8,     6,     5,     4,     3,     2,     2,     1,
        1,     1,     0,     0,     0,     0,     0,     0,     0,     0,     0,     0,     0,     0,     0,     0
};

#endif /* PWM_SINE_13BIT_G28_H */
```

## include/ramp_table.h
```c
/*
 * PWM Ramp Table - Modular Selector
 * 
 * Includes the appropriate ramp/sine table based on Kconfig settings.
 * Tables include gamma value in naming for color-specific optimization.
 */

#ifndef RAMP_TABLE_H
#define RAMP_TABLE_H

#include <stdint.h>

/* Default: Include 13-bit gamma 2.8 tables (blue LED optimized) */
#if defined(CONFIG_PWM_RAMP_RESOLUTION_13BIT) || !defined(CONFIG_PWM_RAMP_RESOLUTION)

/* Linear ramp table */
#include "ramp_table_13bit_g28.h"
#define pwm_ramp_table      pwm_ramp_table_13bit_g28
#define RAMP_TABLE_SIZE     PWM_RAMP_13BIT_G28_SIZE
#define RAMP_TABLE_MAX_DUTY PWM_RAMP_13BIT_G28_MAX_DUTY

/* Sine wave table */
#include "ramp_sine_13bit_g28.h"
#define pwm_sine_table      pwm_sine_table_13bit_g28
#define SINE_TABLE_SIZE     PWM_SINE_13BIT_G28_SIZE
#define SINE_TABLE_MAX_DUTY PWM_SINE_13BIT_G28_MAX_DUTY

#elif defined(CONFIG_PWM_RAMP_RESOLUTION_10BIT)
/* TODO: Generate 10-bit tables when needed */
#error "10-bit tables not yet generated. Run: python3 scripts/generate_ramp_table.py --bits 10 --gamma 2.8"

#elif defined(CONFIG_PWM_RAMP_RESOLUTION_8BIT)
/* TODO: Generate 8-bit tables when needed */
#error "8-bit tables not yet generated. Run: python3 scripts/generate_ramp_table.py --bits 8 --gamma 2.8"

#endif

#endif /* RAMP_TABLE_H */
```
